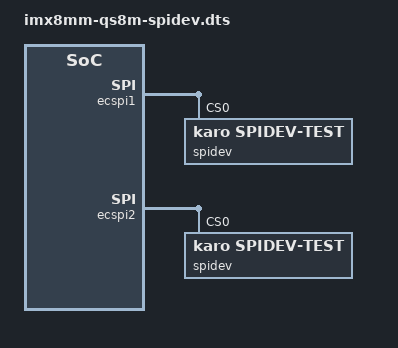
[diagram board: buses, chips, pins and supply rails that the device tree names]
// SPDX-License-Identifier: (GPL-2.0 OR BSD-3-Clause)
/*
 * Copyright (C) 2023 Lothar Waßmann <LW@KARO-electronics.de>
 */

/dts-v1/;

/plugin/;

#include <dt-bindings/gpio/gpio.h>
#include "imx8mm-pinfunc.h"

&{/chosen} {
	overlays {
		qs8m-spidev;
	};
};

&ecspi1 {
	status = "okay";

	spidev@0 {
		reg = <0>;
		compatible = "karo,spidev-test";
		pinctrl-names = "default";
		pinctrl-0 = <&pinctrl_ecspi1_cs>;
		cs-gpios = <&gpio5 9 GPIO_ACTIVE_LOW>;
	};
};

&ecspi2 {
	status = "okay";

	spidev@0 {
		reg = <0>;
		compatible = "karo,spidev-test";
		pinctrl-names = "default";
		pinctrl-0 = <&pinctrl_ecspi2_cs>;
		cs-gpios = <&gpio5 13 GPIO_ACTIVE_LOW>;
	};
};

&iomuxc {
	pinctrl_ecspi1_cs: ecspi1-csgrp {
		fsl,pins = <
			MX8MM_IOMUXC_ECSPI1_SS0_GPIO5_IO9		0x140
		>;
	};

	pinctrl_ecspi2_cs: ecspi2-csgrp {
		fsl,pins = <
			MX8MM_IOMUXC_ECSPI2_SS0_GPIO5_IO13		0x156
		>;
	};
};
